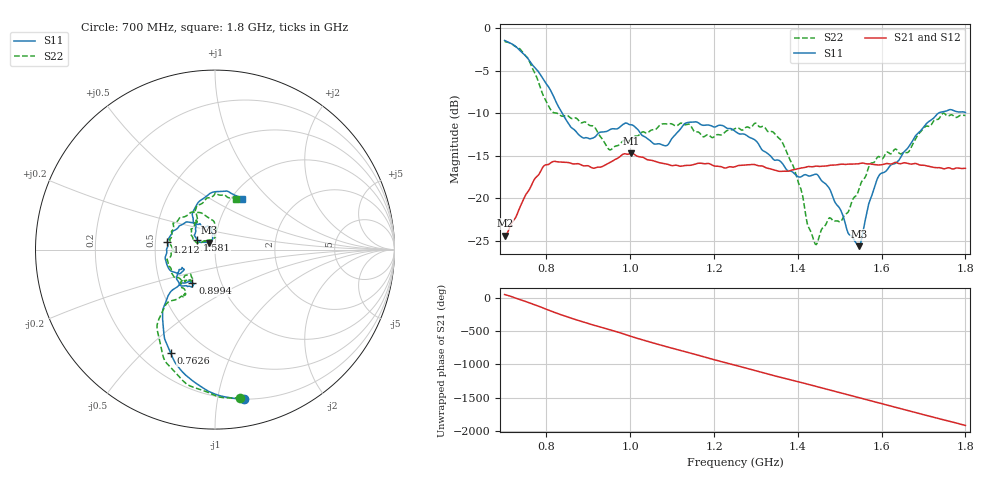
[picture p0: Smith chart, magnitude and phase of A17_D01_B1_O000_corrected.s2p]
! Created with skrf 1.9.0 (http://scikit-rf.org).
# Hz S RI R 50.0
!freq ReS11 ImS11 ReS21 ImS21 ReS12 ImS12 ReS22 ImS22
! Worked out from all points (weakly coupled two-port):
!   1601 points, 700 MHz to 1.8 GHz, reference 50 ohm
!   highest |S21| = -14.72 dB at 1.002 GHz (marker M1); lowest = -24.4 dB at 700.7 MHz (marker M2)
!   lowest |S11| = -25.7 dB at 1.546 GHz (marker M3), VSWR 1.11, Z = 46.6 + j3.68 ohm
!   |S11| at or under -10 dB: 837.7 MHz to 1.735 GHz (897.4 MHz wide, 69.8 % of centre)
!   |S22| runs from -25.5 to -1.5 dB; largest |S21 - S12| = 0.0037
!   S11 on the Smith chart (normalised r, x): 700 MHz: 0.20, -1.19; 762.6 MHz: 0.32, -0.61; 899.4 MHz: 0.73, -0.29; 1.212 GHz: 0.58, +0.06; 1.581 GHz: 0.82, +0.09; 1.8 GHz: 1.12, +0.70
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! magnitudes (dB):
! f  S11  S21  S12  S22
! 700 MHz  -1.4  -24.4  -24.2  -1.5
! 700.7 MHz  -1.4  -24.4  -24.1  -1.5
! 762.6 MHz  -4.0  -18.6  -18.6  -4.3
! 812.1 MHz  -7.5  -15.8  -15.7  -9.7
! 883.6 MHz  -12.8  -16.1  -16.0  -11.1
! 899.4 MHz  -12.9  -16.2  -16.2  -11.3
! 950.9 MHz  -11.9  -15.8  -15.8  -14.3
! 1.002 GHz  -11.4  -14.7  -14.8  -13.0
! 1.067 GHz  -13.6  -15.8  -15.7  -11.6
! 1.136 GHz  -11.1  -16.1  -16.1  -11.3
! 1.212 GHz  -11.4  -16.2  -16.2  -12.5
! 1.25 GHz  -12.1  -16.3  -16.2  -11.8
! 1.36 GHz  -15.7  -16.8  -16.8  -13.2
! 1.392 GHz  -17.1  -16.6  -16.6  -16.7
! 1.434 GHz  -17.3  -16.3  -16.3  -24.3
! 1.503 GHz  -21.5  -16.0  -16.0  -22.7
! 1.546 GHz  -25.7  -15.9  -15.9  -18.9
! 1.581 GHz  -19.0  -16.0  -16.0  -15.8
! 1.617 GHz  -16.4  -15.9  -15.9  -14.7
! 1.663 GHz  -14.1  -15.9  -15.9  -14.6
! 1.735 GHz  -10.0  -16.4  -16.5  -10.7
! 1.8 GHz  -9.9  -16.5  -16.5  -10.2
